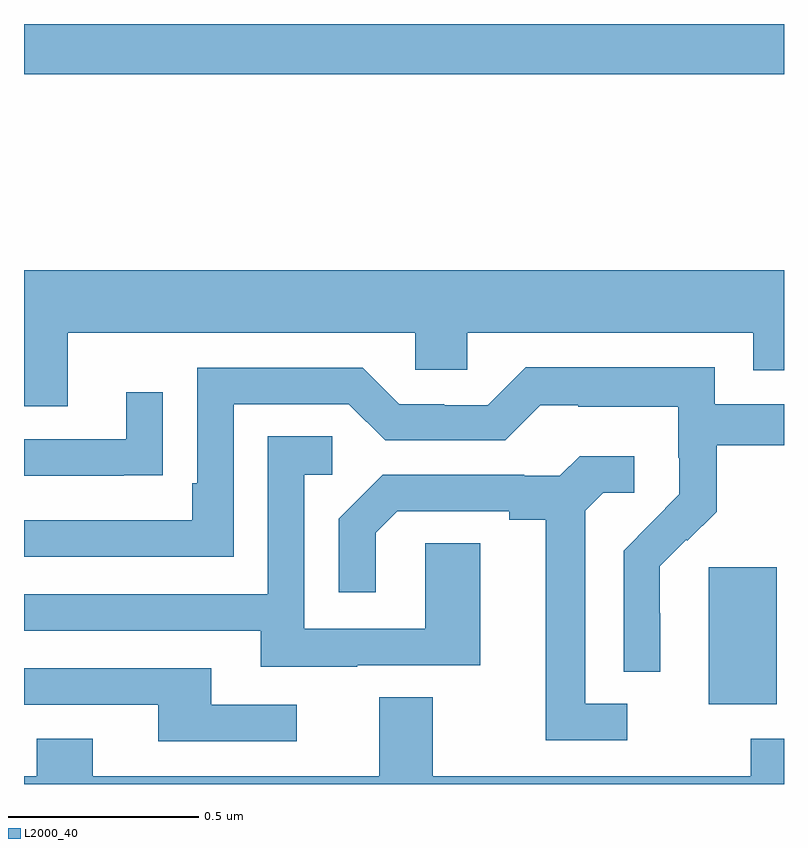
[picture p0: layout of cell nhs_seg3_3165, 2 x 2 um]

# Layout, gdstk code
import gdstk
lib = gdstk.Library(unit=1e-6, precision=1e-09)
def R(c, l, rs):  # rectangles x0, y0, x1, y1
    for r in rs: c.add(gdstk.rectangle(r[:2], r[2:], *l))
def P(c, l, *ps):  # polygons
    for p in ps: c.add(gdstk.Polygon(p, *l))
L2000_40 = (2000, 40)

nhs_seg3_3165 = lib.new_cell('nhs_seg3_3165')
R(nhs_seg3_3165, L2000_40, [(151.802,694.61,151.981,694.971), (150,696.268,152,696.4)])
P(nhs_seg3_3165, L2000_40, [(150.115,695.588),(151.029,695.588),(151.029,695.49),(151.167,695.49),(151.167,695.588),(151.919,695.588),(151.919,695.489),(152,695.489),(152,695.752),(150,695.752),(150,695.394),(150.115,695.394)],
  [(151.674,694.85),(151.673,694.85),(151.673,694.973),(151.743,695.043),(151.746,695.04),(151.823,695.117),(151.823,695.292),(152,695.292),(152,695.4),(151.818,695.4),(151.818,695.497),(151.321,695.497),(151.221,695.397),(151.106,695.397),(151.106,695.4),(150.987,695.4),(150.891,695.496),(150.456,695.496),(150.456,695.191),(150.443,695.191),(150.443,695.094),(150,695.094),(150,694.998),(150.552,694.998),(150.552,695.4),(150.855,695.4),(150.951,695.304),(151.266,695.304),(151.359,695.397),(151.459,695.397),(151.459,695.393),(151.722,695.393),(151.722,695.259),(151.724,695.259),(151.724,695.162),(151.65,695.088),(151.651,695.087),(151.578,695.014),(151.578,694.696),(151.674,694.696)],
  [(150.263,695.212),(150.365,695.212),(150.365,695.431),(150.269,695.431),(150.269,695.307),(150,695.307),(150,695.211),(150.263,695.211)],
  [(150.877,694.713),(151.201,694.713),(151.201,695.033),(151.056,695.033),(151.056,694.809),(150.738,694.809),(150.738,695.214),(150.811,695.214),(150.811,695.315),(150.642,695.315),(150.642,694.899),(150,694.899),(150,694.803),(150.623,694.803),(150.623,694.709),(150.877,694.709)],
  [(151.588,694.611),(151.477,694.611),(151.477,695.119),(151.524,695.166),(151.606,695.166),(151.606,695.263),(151.462,695.263),(151.41,695.211),(151.316,695.211),(151.316,695.214),(150.944,695.214),(150.828,695.098),(150.828,694.905),(150.925,694.905),(150.925,695.061),(150.982,695.118),(151.277,695.118),(151.277,695.096),(151.373,695.096),(151.373,694.515),(151.588,694.515)],
  [(150.718,694.608),(150.493,694.608),(150.493,694.704),(150,694.704),(150,694.608),(150.353,694.608),(150.353,694.512),(150.718,694.512)],
  [(152,694.519),(151.912,694.519),(151.912,694.42),(151.075,694.42),(151.075,694.628),(150.935,694.628),(150.935,694.42),(150.181,694.42),(150.181,694.519),(150.034,694.519),(150.034,694.42),(150,694.42),(150,694.4),(152,694.4)])

lib.write_gds('nhs_seg3_3165.gds')
